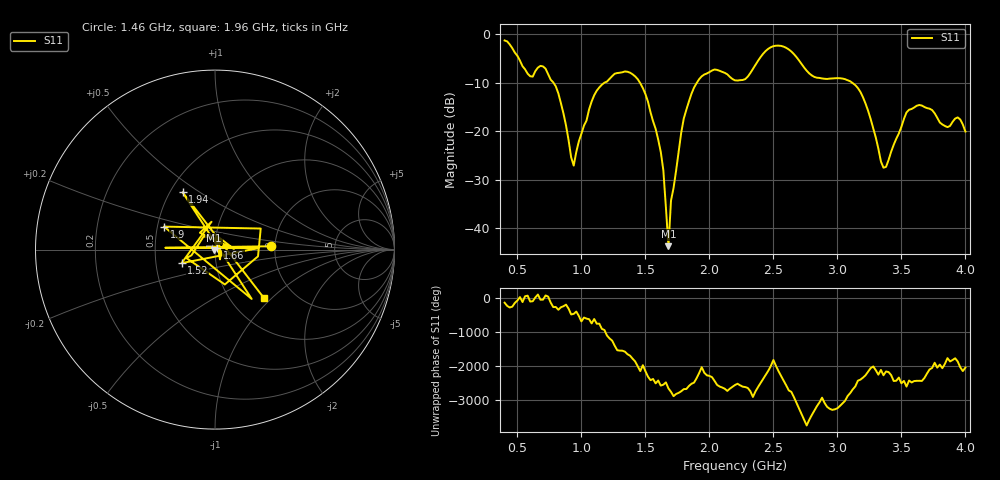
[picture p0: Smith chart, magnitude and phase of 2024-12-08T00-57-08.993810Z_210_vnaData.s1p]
!Created with skrf (http://scikit-rf.org).
# Hz S RI R 50.0
!freq ReS11 ImS11
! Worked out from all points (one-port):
!   181 points, 400 MHz to 4 GHz, reference 50 ohm
!   lowest |S11| = -43.7 dB at 1.68 GHz (marker M1), VSWR 1.01, Z = 49.5 - j0.367 ohm
!   |S11| at or under -10 dB: 780.9 MHz to 1.182 GHz (401.5 MHz wide, 40.9 % of centre); 1.457 GHz to 1.903 GHz (446.4 MHz wide, 26.6 % of centre); 3.114 GHz to end of sweep
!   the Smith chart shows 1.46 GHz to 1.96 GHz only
!   S11 on the Smith chart (normalised r, x): 1.46 GHz: 1.90, +0.08; 1.52 GHz: 0.68, -0.11; 1.66 GHz: 1.03, +0.02; 1.9 GHz: 0.54, +0.15; 1.94 GHz: 0.58, +0.43; 1.96 GHz: 1.42, -0.89
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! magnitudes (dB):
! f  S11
! 400 MHz  -1.3
! 600 MHz  -8.7
! 720 MHz  -7.1
! 860 MHz  -16.4
! 940 MHz  -27.1
! 1.1 GHz  -12.6
! 1.3 GHz  -8.0
! 1.46 GHz  -10.1
! 1.52 GHz  -13.9
! 1.62 GHz  -24.3
! 1.66 GHz  -35.6
! 1.68 GHz  -43.7
! 1.7 GHz  -34.3
! 1.76 GHz  -24.2
! 1.8 GHz  -17.4
! 1.9 GHz  -10.1
! 1.94 GHz  -8.7
! 1.96 GHz  -8.3
! 2.2 GHz  -9.6
! 2.48 GHz  -2.7
! 2.66 GHz  -4.1
! 2.82 GHz  -8.8
! 3.1 GHz  -9.7
! 3.22 GHz  -14.3
! 3.36 GHz  -27.5
! 3.56 GHz  -15.6
! 3.94 GHz  -17.2
! 4 GHz  -20.1
